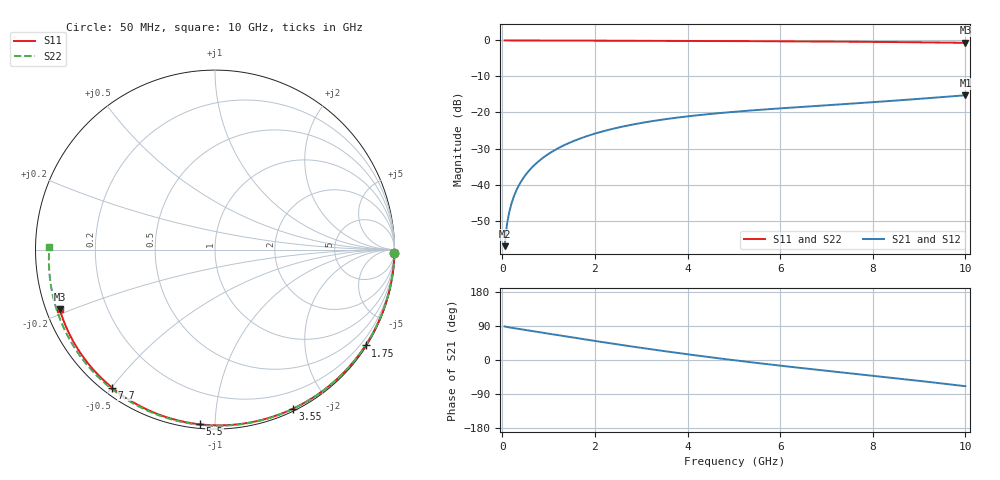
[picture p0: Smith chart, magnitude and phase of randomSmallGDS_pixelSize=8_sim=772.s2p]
! freq	dB(S11)	phase(S11)	dB(S12)	phase(S12)
!  dB(S21)	phase(S21)	dB(S22)	phase(S22)
!S-par simulation data
#  GHz  S  DB  R 50
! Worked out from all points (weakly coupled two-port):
!   200 points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, 50 MHz to 10 GHz, reference 50 ohm
!   highest |S21| = -15.22 dB at 10 GHz (marker M1); lowest = -57.1 dB at 50 MHz (marker M2)
!   lowest |S11| = -0.7 dB at 10 GHz (marker M3), VSWR 26.38, Z = 1.96 - j9.28 ohm
!   |S11| at or under -10 dB: nowhere
!   |S22| runs from -0.7 to 0.0 dB; largest |S21 - S12| = 0
!   S11 on the Smith chart (normalised r, x): 50 MHz: open; 1.75 GHz: 0.04, -3.43; 3.55 GHz: 0.02, -1.60; 5.5 GHz: 0.02, -0.92; 7.7 GHz: 0.03, -0.50; 10 GHz: 0.04, -0.19
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0.05  -0.00 -0.9  -57.11 88.5  -57.11 88.5  -0.00 -1.1
0.1  -0.00 -1.9  -51.13 87.2  -51.13 87.2  -0.00 -2.2
0.15  -0.00 -2.8  -47.66 86.1  -47.66 86.1  -0.00 -3.3
0.2  -0.00 -3.8  -45.20 85.0  -45.20 85.0  -0.00 -4.3
0.25  -0.00 -4.7  -43.30 84.0  -43.30 84.0  -0.00 -5.4
0.35  -0.01 -6.6  -40.43 82.1  -40.43 82.1  -0.01 -7.6
0.5  -0.01 -9.4  -37.38 79.3  -37.38 79.3  -0.01 -10.8
0.7  -0.02 -13.2  -34.51 75.4  -34.51 75.4  -0.02 -15.1
1  -0.03 -18.8  -31.49 69.6  -31.49 69.6  -0.03 -21.5
1.35  -0.04 -25.2  -29.00 62.7  -29.00 62.7  -0.04 -28.8
1.75  -0.05 -32.5  -26.90 55.0  -26.90 55.0  -0.06 -37.1
2.6  -0.08 -47.6  -23.91 39.2  -23.91 39.2  -0.09 -54.3
3.4  -0.11 -61.4  -22.08 25.1  -22.08 25.1  -0.12 -69.8
3.55  -0.11 -63.9  -21.80 22.6  -21.80 22.6  -0.12 -72.6
4.3  -0.14 -76.2  -20.65 10.3  -20.65 10.3  -0.16 -86.4
5.05  -0.18 -88.0  -19.76 -1.2  -19.76 -1.2  -0.19 -99.6
5.5  -0.20 -94.9  -19.31 -7.8  -19.31 -7.8  -0.22 -107.2
6.7  -0.28 -112.6  -18.25 -24.4  -18.25 -24.4  -0.30 -127.1
7.7  -0.36 -126.8  -17.40 -37.6  -17.40 -37.6  -0.39 -143.1
8.35  -0.43 -135.8  -16.82 -46.2  -16.82 -46.2  -0.46 -153.6
9.2  -0.54 -147.7  -16.02 -57.7  -16.02 -57.7  -0.57 -167.4
10  -0.66 -158.9  -15.22 -69.2  -15.22 -69.2  -0.70 179.1
